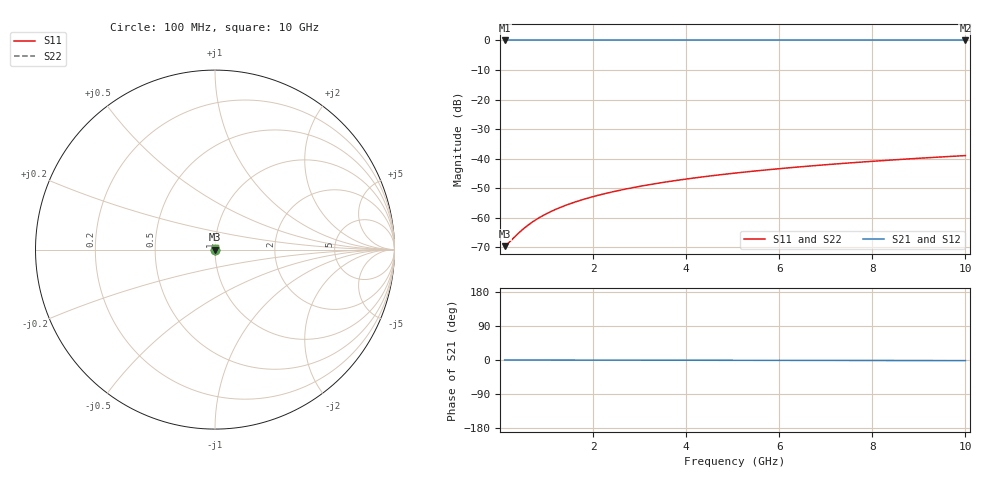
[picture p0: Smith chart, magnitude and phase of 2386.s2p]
# Hz S RI R 50.00
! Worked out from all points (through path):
!   100 points, 100 MHz to 10 GHz, reference 50 ohm
!   highest |S21| = 0.00 dB at 100 MHz (marker M1); lowest = 0.0 dB at 10 GHz (marker M2)
!   lowest |S11| = -69.6 dB at 100 MHz (marker M3), VSWR 1.00, Z = 50 + j0.0112 ohm
!   |S11| at or under -10 dB: start of sweep to end of sweep
!   |S22| runs from -69.6 to -39.0 dB; largest |S21 - S12| = 0
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1e8  0.00031 0.000112  0.9997 -0.000275  0.9997 -0.000275  0.00031 0.000112
2e8  0.000312 0.000224  0.9997 -0.00055  0.9997 -0.00055  0.000312 0.000224
4e8  0.000315 0.000449  0.9997 -0.0011  0.9997 -0.0011  0.000315 0.000449
5e8  0.000316 0.000561  0.9997 -0.00137  0.9997 -0.00137  0.000316 0.000561
6e8  0.000317 0.000673  0.9997 -0.00165  0.9997 -0.00165  0.000317 0.000673
7e8  0.000318 0.000785  0.9997 -0.00192  0.9997 -0.00192  0.000318 0.000785
8e8  0.000319 0.000898  0.9997 -0.0022  0.9997 -0.0022  0.000319 0.000898
1e9  0.000322 0.00112  0.9997 -0.00275  0.9997 -0.00275  0.000322 0.00112
1.2e9  0.000324 0.00135  0.9997 -0.0033  0.9997 -0.0033  0.000324 0.00135
1.5e9  0.000328 0.00168  0.9997 -0.00412  0.9997 -0.00412  0.000328 0.00168
1.8e9  0.000333 0.00202  0.9997 -0.00495  0.9997 -0.00495  0.000333 0.00202
2.1e9  0.000337 0.00236  0.9997 -0.00577  0.9997 -0.00577  0.000337 0.00236
2.5e9  0.000344 0.00281  0.9996 -0.00687  0.9996 -0.00687  0.000344 0.00281
2.9e9  0.000352 0.00325  0.9996 -0.00797  0.9996 -0.00797  0.000352 0.00325
3.4e9  0.000364 0.00382  0.9996 -0.00935  0.9996 -0.00935  0.000364 0.00382
4.2e9  0.000385 0.00471  0.9996 -0.0115  0.9996 -0.0115  0.000385 0.00471
5.1e9  0.000413 0.00572  0.9995 -0.014  0.9995 -0.014  0.000413 0.00572
5.9e9  0.000442 0.00662  0.9995 -0.0162  0.9995 -0.0162  0.000442 0.00662
6.7e9  0.000475 0.00752  0.9995 -0.0184  0.9995 -0.0184  0.000475 0.00752
7.5e9  0.000512 0.00842  0.9994 -0.0206  0.9994 -0.0206  0.000512 0.00842
8.4e9  0.000559 0.00943  0.9993 -0.0231  0.9993 -0.0231  0.000559 0.00943
1e10  0.000654 0.0112  0.9992 -0.0275  0.9992 -0.0275  0.000654 0.0112
